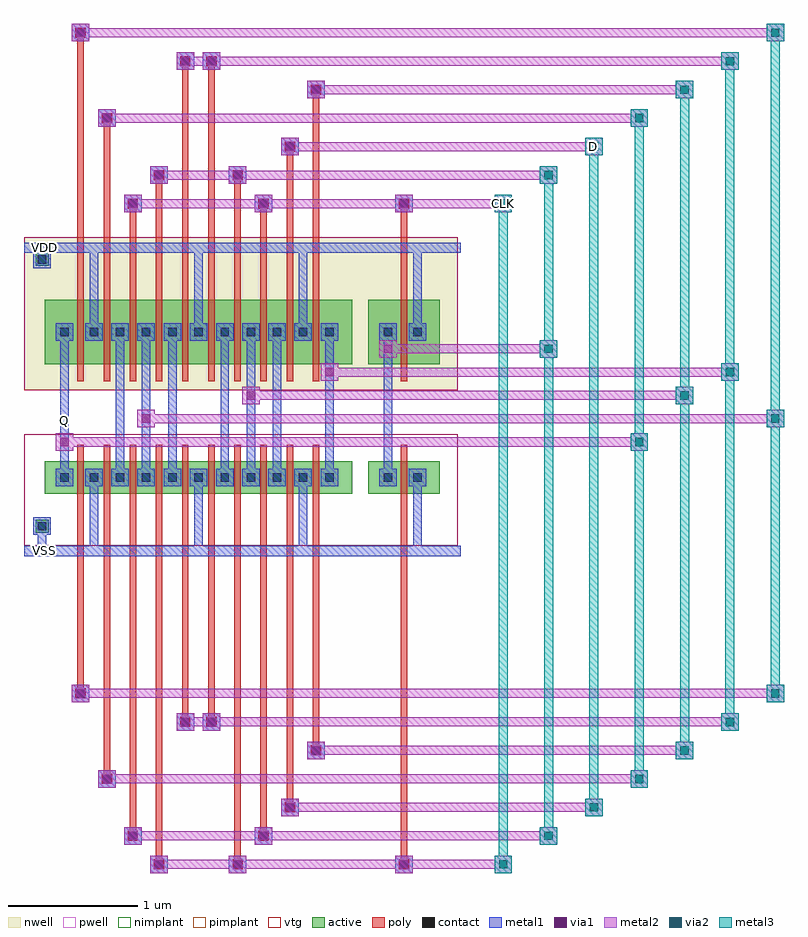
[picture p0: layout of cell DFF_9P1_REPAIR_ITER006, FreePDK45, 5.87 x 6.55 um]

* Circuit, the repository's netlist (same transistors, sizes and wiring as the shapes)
* cell DFF_9P1_REPAIR_ITER006
* pin CLK
* pin D
* pin Q
* pin VDD
* pin VSS
.SUBCKT DFF_9P1_REPAIR_ITER006 1 3 4 12 13
* net 1 CLK
* net 3 D
* net 4 Q
* net 12 VDD
* net 13 VSS
* device instance $1 r0 *1 0.4375,1.73 PMOS_VTG
M$1 12 7 4 12 PMOS_VTG L=0.05U W=0.5U AS=0.12625P AD=0.038125P PS=1.505U
+ PD=0.6525U
* device instance $2 r0 *1 0.64,1.73 PMOS_VTG
M$2 8 4 12 12 PMOS_VTG L=0.05U W=0.5U AS=0.038125P AD=0.0375P PS=0.6525U
+ PD=0.65U
* device instance $3 r0 *1 0.84,1.73 PMOS_VTG
M$3 7 1 8 12 PMOS_VTG L=0.05U W=0.5U AS=0.0375P AD=0.038125P PS=0.65U PD=0.6525U
* device instance $4 r0 *1 1.0425,1.73 PMOS_VTG
M$4 9 2 7 12 PMOS_VTG L=0.05U W=0.5U AS=0.038125P AD=0.038125P PS=0.6525U
+ PD=0.6525U
* device instance $5 r0 *1 1.245,1.73 PMOS_VTG
M$5 12 6 9 12 PMOS_VTG L=0.05U W=0.5U AS=0.038125P AD=0.038125P PS=0.6525U
+ PD=0.6525U
* device instance $6 r0 *1 1.4475,1.73 PMOS_VTG
M$6 10 6 12 12 PMOS_VTG L=0.05U W=0.5U AS=0.038125P AD=0.038125P PS=0.6525U
+ PD=0.6525U
* device instance $7 r0 *1 1.65,1.73 PMOS_VTG
M$7 5 2 10 12 PMOS_VTG L=0.05U W=0.5U AS=0.038125P AD=0.0375P PS=0.6525U
+ PD=0.65U
* device instance $8 r0 *1 1.85,1.73 PMOS_VTG
M$8 11 1 5 12 PMOS_VTG L=0.05U W=0.5U AS=0.0375P AD=0.038125P PS=0.65U
+ PD=0.6525U
* device instance $9 r0 *1 2.0525,1.73 PMOS_VTG
M$9 12 3 11 12 PMOS_VTG L=0.05U W=0.5U AS=0.038125P AD=0.038125P PS=0.6525U
+ PD=0.6525U
* device instance $10 r0 *1 2.255,1.73 PMOS_VTG
M$10 6 5 12 12 PMOS_VTG L=0.05U W=0.5U AS=0.038125P AD=0.12625P PS=0.6525U
+ PD=1.505U
* device instance $11 r0 *1 2.935,1.73 PMOS_VTG
M$11 12 1 2 12 PMOS_VTG L=0.05U W=0.5U AS=0.12625P AD=0.125P PS=1.505U PD=1.5U
* device instance $12 r0 *1 2.935,0.605 NMOS_VTG
M$12 13 1 2 13 NMOS_VTG L=0.05U W=0.25U AS=0.063125P AD=0.0625P PS=1.005U PD=1U
* device instance $13 r0 *1 0.4375,0.605 NMOS_VTG
M$13 13 7 4 13 NMOS_VTG L=0.05U W=0.25U AS=0.063125P AD=0.0190625P PS=1.005U
+ PD=0.4025U
* device instance $14 r0 *1 0.64,0.605 NMOS_VTG
M$14 8 4 13 13 NMOS_VTG L=0.05U W=0.25U AS=0.0190625P AD=0.01875P PS=0.4025U
+ PD=0.4U
* device instance $15 r0 *1 0.84,0.605 NMOS_VTG
M$15 7 2 8 13 NMOS_VTG L=0.05U W=0.25U AS=0.01875P AD=0.0190625P PS=0.4U
+ PD=0.4025U
* device instance $16 r0 *1 1.0425,0.605 NMOS_VTG
M$16 9 1 7 13 NMOS_VTG L=0.05U W=0.25U AS=0.0190625P AD=0.0190625P PS=0.4025U
+ PD=0.4025U
* device instance $17 r0 *1 1.245,0.605 NMOS_VTG
M$17 13 6 9 13 NMOS_VTG L=0.05U W=0.25U AS=0.0190625P AD=0.0190625P PS=0.4025U
+ PD=0.4025U
* device instance $18 r0 *1 1.4475,0.605 NMOS_VTG
M$18 10 6 13 13 NMOS_VTG L=0.05U W=0.25U AS=0.0190625P AD=0.0190625P PS=0.4025U
+ PD=0.4025U
* device instance $19 r0 *1 1.65,0.605 NMOS_VTG
M$19 5 1 10 13 NMOS_VTG L=0.05U W=0.25U AS=0.0190625P AD=0.01875P PS=0.4025U
+ PD=0.4U
* device instance $20 r0 *1 1.85,0.605 NMOS_VTG
M$20 11 2 5 13 NMOS_VTG L=0.05U W=0.25U AS=0.01875P AD=0.0190625P PS=0.4U
+ PD=0.4025U
* device instance $21 r0 *1 2.0525,0.605 NMOS_VTG
M$21 13 3 11 13 NMOS_VTG L=0.05U W=0.25U AS=0.0190625P AD=0.0190625P PS=0.4025U
+ PD=0.4025U
* device instance $22 r0 *1 2.255,0.605 NMOS_VTG
M$22 6 5 13 13 NMOS_VTG L=0.05U W=0.25U AS=0.0190625P AD=0.063125P PS=0.4025U
+ PD=1.005U
.ENDS DFF_9P1_REPAIR_ITER006

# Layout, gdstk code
import gdstk
lib = gdstk.Library(unit=1e-6, precision=2.5e-09)
def R(c, l, rs):  # rectangles x0, y0, x1, y1
    for r in rs: c.add(gdstk.rectangle(r[:2], r[2:], *l))
def A(c, l, x, y, w, h, nx, ny, dx, dy):  # array of equal rectangles
    R(c, l, [(x+i*dx, y+j*dy, x+i*dx+w, y+j*dy+h) for i in range(nx) for j in range(ny)])
active = (1, 0)
pwell = (2, 0)
nwell = (3, 0)
nimplant = (4, 0)
pimplant = (5, 0)
vtg = (6, 0)
poly = (9, 0)
contact = (10, 0)
metal1 = (11, 0)
via1 = (12, 0)
metal2 = (13, 0)
via2 = (14, 0)
metal3 = (15, 0)

dff_9p1_repair_iter006 = lib.new_cell('DFF_9P1_REPAIR_ITER006')
R(dff_9p1_repair_iter006, active, [(0.09,0.18,0.19,0.28), (0.16,0.48,2.5325,0.73), (2.6575,0.48,3.21,0.73), (0.16,1.48,2.5325,1.98), (2.6575,1.48,3.21,1.98), (0.09,2.24,0.19,2.34)])
R(dff_9p1_repair_iter006, pwell, [(0,0.08,3.35,0.94), (0.02,0.24,3.35,0.94)])
R(dff_9p1_repair_iter006, nwell, [(0,1.28,3.35,2.46), (0.02,1.28,3.35,2.2)])
R(dff_9p1_repair_iter006, nimplant, [(0.16,0.48,2.5325,0.73), (2.6575,0.48,3.21,0.73), (0.09,2.24,0.19,2.34)])
R(dff_9p1_repair_iter006, pimplant, [(0.09,0.18,0.19,0.28), (0.16,1.48,2.5325,1.98), (2.6575,1.48,3.21,1.98)])
R(dff_9p1_repair_iter006, vtg, [(0,0.08,3.35,0.94), (0.02,0.24,3.35,0.94), (0,1.28,3.35,2.46), (0.02,1.28,3.35,2.2)])
A(dff_9p1_repair_iter006, poly, 0.815, 0.35, 0.05, 0.51, 5, 1, 0.2025, 0)
A(dff_9p1_repair_iter006, poly, 1.825, 0.35, 0.05, 0.51, 3, 1, 0.2025, 0)
A(dff_9p1_repair_iter006, poly, 0.815, 1.35, 0.05, 0.76, 5, 1, 0.2025, 0)
A(dff_9p1_repair_iter006, poly, 1.825, 1.35, 0.05, 0.76, 3, 1, 0.2025, 0)
R(dff_9p1_repair_iter006, poly, [(1.0025,-2.42,1.0825,-2.34), (1.0175,-2.42,1.0675,0.35), (1.61,-2.42,1.69,-2.34), (1.625,-2.42,1.675,0.35), (2.895,-2.42,2.975,-2.34), (2.91,-2.42,2.96,0.35), (0.8,-2.2,0.88,-2.12), (0.815,-2.2,0.865,0.35), (1.81,-2.2,1.89,-2.12), (1.825,-2.2,1.875,0.35), (2.0125,-1.98,2.0925,-1.9), (2.0275,-1.98,2.0775,0.35), (0.6,-1.76,0.68,-1.68), (0.615,-1.76,0.665,0.35), (2.215,-1.54,2.295,-1.46), (2.23,-1.54,2.28,0.35), (1.205,-1.32,1.285,-1.24), (1.22,-1.32,1.27,0.35), (1.4075,-1.32,1.4875,-1.24), (1.4225,-1.32,1.4725,0.35), (0.3975,-1.1,0.4775,-1.02), (0.4125,-1.1,0.4625,0.35), (0.4125,0.35,0.4625,0.86), (0.615,0.35,0.665,0.86), (2.91,0.35,2.96,0.86), (0.4125,1.35,0.4625,2.11), (0.615,1.35,0.665,2.11), (2.91,1.35,2.96,2.11), (0.4125,2.11,0.4625,4.08), (0.615,2.11,0.665,3.42), (0.815,2.11,0.865,2.76), (1.0175,2.11,1.0675,2.98), (1.22,2.11,1.27,3.86), (1.4225,2.11,1.4725,3.86), (1.625,2.11,1.675,2.98), (1.825,2.11,1.875,2.76), (2.0275,2.11,2.0775,3.2), (2.23,2.11,2.28,3.64), (2.91,2.11,2.96,2.76), (0.8,2.68,0.88,2.76), (1.81,2.68,1.89,2.76), (2.895,2.68,2.975,2.76), (1.0025,2.9,1.0825,2.98), (1.61,2.9,1.69,2.98), (2.0125,3.12,2.0925,3.2), (0.6,3.34,0.68,3.42), (2.215,3.56,2.295,3.64), (1.205,3.78,1.285,3.86), (1.4075,3.78,1.4875,3.86), (0.3975,4,0.4775,4.08)])
A(dff_9p1_repair_iter006, contact, 0.91, 0.5725, 0.065, 0.065, 5, 2, 0.2025, 1.125)
A(dff_9p1_repair_iter006, contact, 1.92, 0.5725, 0.065, 0.065, 3, 2, 0.2025, 1.125)
R(dff_9p1_repair_iter006, contact, [(1.01,-2.4125,1.075,-2.3475), (1.6175,-2.4125,1.6825,-2.3475), (2.9025,-2.4125,2.9675,-2.3475), (0.8075,-2.1925,0.8725,-2.1275), (1.8175,-2.1925,1.8825,-2.1275), (2.02,-1.9725,2.085,-1.9075), (0.6075,-1.7525,0.6725,-1.6875), (2.2225,-1.5325,2.2875,-1.4675), (1.2125,-1.3125,1.2775,-1.2475), (1.415,-1.3125,1.48,-1.2475), (0.405,-1.0925,0.47,-1.0275), (0.1075,0.1975,0.1725,0.2625), (0.28,0.5725,0.345,0.6375), (0.5075,0.5725,0.5725,0.6375), (0.71,0.5725,0.775,0.6375), (2.7775,0.5725,2.8425,0.6375), (3.005,0.5725,3.07,0.6375), (0.28,1.6975,0.345,1.7625), (0.5075,1.6975,0.5725,1.7625), (0.71,1.6975,0.775,1.7625), (2.7775,1.6975,2.8425,1.7625), (3.005,1.6975,3.07,1.7625), (0.1075,2.2575,0.1725,2.3225), (0.8075,2.6875,0.8725,2.7525), (1.8175,2.6875,1.8825,2.7525), (2.9025,2.6875,2.9675,2.7525), (1.01,2.9075,1.075,2.9725), (1.6175,2.9075,1.6825,2.9725), (2.02,3.1275,2.085,3.1925), (0.6075,3.3475,0.6725,3.4125), (2.2225,3.5675,2.2875,3.6325), (1.2125,3.7875,1.2775,3.8525), (1.415,3.7875,1.48,3.8525), (0.405,4.0075,0.47,4.0725)])
A(dff_9p1_repair_iter006, metal1, 0.5075, 0.04, 0.065, 0.565, 3, 1, 0.8075, 0)
A(dff_9p1_repair_iter006, metal1, 0.875, 0.5375, 0.135, 0.135, 5, 2, 0.2025, 1.125)
A(dff_9p1_repair_iter006, metal1, 1.885, 0.5375, 0.135, 0.135, 3, 2, 0.2025, 1.125)
A(dff_9p1_repair_iter006, metal1, 0.5075, 1.73, 0.065, 0.65, 3, 1, 0.8075, 0)
R(dff_9p1_repair_iter006, metal1, [(0.975,-2.4475,1.11,-2.3125), (1.5825,-2.4475,1.7175,-2.3125), (2.8675,-2.4475,3.0025,-2.3125), (0.7725,-2.2275,0.9075,-2.0925), (1.7825,-2.2275,1.9175,-2.0925), (1.985,-2.0075,2.12,-1.8725), (0.5725,-1.7875,0.7075,-1.6525), (2.1875,-1.5675,2.3225,-1.4325), (1.1775,-1.3475,1.3125,-1.2125), (1.38,-1.3475,1.515,-1.2125), (0.37,-1.1275,0.505,-0.9925), (0,0,3.37,0.08), (0.1075,0.04,0.1725,0.23), (3.005,0.04,3.07,0.605), (0.0725,0.1625,0.2075,0.2975), (0.245,0.5375,0.38,0.6725), (0.4725,0.5375,0.6075,0.6725), (0.675,0.5375,0.81,0.6725), (2.7425,0.5375,2.8775,0.6725), (2.97,0.5375,3.105,0.6725), (0.28,0.605,0.345,1.73), (0.71,0.605,0.775,1.73), (0.91,0.605,0.975,1.73), (1.1125,0.605,1.1775,1.73), (1.5175,0.605,1.5825,1.73), (1.72,0.605,1.785,1.73), (1.92,0.605,1.985,1.73), (2.325,0.605,2.39,1.73), (2.7775,0.605,2.8425,1.73), (0.245,1.6625,0.38,1.7975), (0.4725,1.6625,0.6075,1.7975), (0.675,1.6625,0.81,1.7975), (2.7425,1.6625,2.8775,1.7975), (2.97,1.6625,3.105,1.7975), (3.005,1.73,3.07,2.38), (0.0725,2.2225,0.2075,2.3575), (0.1075,2.29,0.1725,2.38), (0,2.34,3.37,2.42), (0.7725,2.6525,0.9075,2.7875), (1.7825,2.6525,1.9175,2.7875), (2.8675,2.6525,3.0025,2.7875), (0.975,2.8725,1.11,3.0075), (1.5825,2.8725,1.7175,3.0075), (1.985,3.0925,2.12,3.2275), (0.5725,3.3125,0.7075,3.4475), (2.1875,3.5325,2.3225,3.6675), (1.1775,3.7525,1.3125,3.8875), (1.38,3.7525,1.515,3.8875), (0.37,3.9725,0.505,4.1075)])
R(dff_9p1_repair_iter006, via1, [(1.01,-2.4125,1.075,-2.3475), (1.6175,-2.4125,1.6825,-2.3475), (2.9025,-2.4125,2.9675,-2.3475), (0.8075,-2.1925,0.8725,-2.1275), (1.8175,-2.1925,1.8825,-2.1275), (2.02,-1.9725,2.085,-1.9075), (0.6075,-1.7525,0.6725,-1.6875), (2.2225,-1.5325,2.2875,-1.4675), (1.2125,-1.3125,1.2775,-1.2475), (1.415,-1.3125,1.48,-1.2475), (0.405,-1.0925,0.47,-1.0275), (0.28,0.8475,0.345,0.9125), (0.91,1.0275,0.975,1.0925), (1.72,1.2075,1.785,1.2725), (2.325,1.3875,2.39,1.4525), (2.7775,1.5675,2.8425,1.6325), (0.8075,2.6875,0.8725,2.7525), (1.8175,2.6875,1.8825,2.7525), (2.9025,2.6875,2.9675,2.7525), (1.01,2.9075,1.075,2.9725), (1.6175,2.9075,1.6825,2.9725), (2.02,3.1275,2.085,3.1925), (0.6075,3.3475,0.6725,3.4125), (2.2225,3.5675,2.2875,3.6325), (1.2125,3.7875,1.2775,3.8525), (1.415,3.7875,1.48,3.8525), (0.405,4.0075,0.47,4.0725)])
R(dff_9p1_repair_iter006, metal2, [(0.975,-2.4475,1.11,-2.3125), (1.5825,-2.4475,1.7175,-2.3125), (2.8675,-2.4475,3.0025,-2.3125), (3.6325,-2.4475,3.7675,-2.3125), (3.6325,-2.4475,3.7675,-2.3125), (3.6325,-2.4475,3.7675,-2.3125), (1.0075,-2.415,3.735,-2.345), (1.615,-2.415,3.735,-2.345), (2.9,-2.415,3.735,-2.345), (0.7725,-2.2275,0.9075,-2.0925), (1.7825,-2.2275,1.9175,-2.0925), (3.9825,-2.2275,4.1175,-2.0925), (3.9825,-2.2275,4.1175,-2.0925), (0.805,-2.195,4.085,-2.125), (1.815,-2.195,4.085,-2.125), (1.985,-2.0075,2.12,-1.8725), (4.3325,-2.0075,4.4675,-1.8725), (2.0175,-1.975,4.435,-1.905), (0.5725,-1.7875,0.7075,-1.6525), (4.6825,-1.7875,4.8175,-1.6525), (0.605,-1.755,4.785,-1.685), (2.1875,-1.5675,2.3225,-1.4325), (5.0325,-1.5675,5.1675,-1.4325), (2.22,-1.535,5.135,-1.465), (1.1775,-1.3475,1.3125,-1.2125), (1.38,-1.3475,1.515,-1.2125), (5.3825,-1.3475,5.5175,-1.2125), (5.3825,-1.3475,5.5175,-1.2125), (1.21,-1.315,5.485,-1.245), (1.4125,-1.315,5.485,-1.245), (0.37,-1.1275,0.505,-0.9925), (5.7325,-1.1275,5.8675,-0.9925), (0.4025,-1.095,5.835,-1.025), (0.245,0.8125,0.38,0.9475), (4.6825,0.8125,4.8175,0.9475), (0.2775,0.845,4.785,0.915), (0.875,0.9925,1.01,1.1275), (5.7325,0.9925,5.8675,1.1275), (0.9075,1.025,5.835,1.095), (1.685,1.1725,1.82,1.3075), (5.0325,1.1725,5.1675,1.3075), (1.7175,1.205,5.135,1.275), (2.29,1.3525,2.425,1.4875), (5.3825,1.3525,5.5175,1.4875), (2.3225,1.385,5.485,1.455), (2.7425,1.5325,2.8775,1.6675), (3.9825,1.5325,4.1175,1.6675), (2.775,1.565,4.085,1.635), (0.7725,2.6525,0.9075,2.7875), (1.7825,2.6525,1.9175,2.7875), (2.8675,2.6525,3.0025,2.7875), (3.6325,2.6525,3.7675,2.7875), (3.6325,2.6525,3.7675,2.7875), (3.6325,2.6525,3.7675,2.7875), (0.805,2.685,3.735,2.755), (1.815,2.685,3.735,2.755), (2.9,2.685,3.735,2.755), (0.975,2.8725,1.11,3.0075), (1.5825,2.8725,1.7175,3.0075), (3.9825,2.8725,4.1175,3.0075), (3.9825,2.8725,4.1175,3.0075), (1.0075,2.905,4.085,2.975), (1.615,2.905,4.085,2.975), (1.985,3.0925,2.12,3.2275), (4.3325,3.0925,4.4675,3.2275), (2.0175,3.125,4.435,3.195), (0.5725,3.3125,0.7075,3.4475), (4.6825,3.3125,4.8175,3.4475), (0.605,3.345,4.785,3.415), (2.1875,3.5325,2.3225,3.6675), (5.0325,3.5325,5.1675,3.6675), (2.22,3.565,5.135,3.635), (1.1775,3.7525,1.3125,3.8875), (1.38,3.7525,1.515,3.8875), (5.3825,3.7525,5.5175,3.8875), (5.3825,3.7525,5.5175,3.8875), (1.21,3.785,5.485,3.855), (1.4125,3.785,5.485,3.855), (0.37,3.9725,0.505,4.1075), (5.7325,3.9725,5.8675,4.1075), (0.4025,4.005,5.835,4.075)])
R(dff_9p1_repair_iter006, via2, [(3.6675,-2.4125,3.7325,-2.3475), (3.6675,-2.4125,3.7325,-2.3475), (3.6675,-2.4125,3.7325,-2.3475), (4.0175,-2.1925,4.0825,-2.1275), (4.0175,-2.1925,4.0825,-2.1275), (4.3675,-1.9725,4.4325,-1.9075), (4.7175,-1.7525,4.7825,-1.6875), (5.0675,-1.5325,5.1325,-1.4675), (5.4175,-1.3125,5.4825,-1.2475), (5.4175,-1.3125,5.4825,-1.2475), (5.7675,-1.0925,5.8325,-1.0275), (4.7175,0.8475,4.7825,0.9125), (5.7675,1.0275,5.8325,1.0925), (5.0675,1.2075,5.1325,1.2725), (5.4175,1.3875,5.4825,1.4525), (4.0175,1.5675,4.0825,1.6325), (3.6675,2.6875,3.7325,2.7525), (3.6675,2.6875,3.7325,2.7525), (3.6675,2.6875,3.7325,2.7525), (4.0175,2.9075,4.0825,2.9725), (4.0175,2.9075,4.0825,2.9725), (4.3675,3.1275,4.4325,3.1925), (4.7175,3.3475,4.7825,3.4125), (5.0675,3.5675,5.1325,3.6325), (5.4175,3.7875,5.4825,3.8525), (5.4175,3.7875,5.4825,3.8525), (5.7675,4.0075,5.8325,4.0725)])
R(dff_9p1_repair_iter006, metal3, [(3.6325,-2.4475,3.7675,-2.3125), (3.6325,-2.4475,3.7675,-2.3125), (3.6325,-2.4475,3.7675,-2.3125), (3.665,-2.415,3.735,2.755), (3.9825,-2.2275,4.1175,-2.0925), (3.9825,-2.2275,4.1175,-2.0925), (4.015,-2.195,4.085,2.975), (4.3325,-2.0075,4.4675,-1.8725), (4.365,-1.975,4.435,3.195), (4.6825,-1.7875,4.8175,-1.6525), (4.715,-1.755,4.785,3.415), (5.0325,-1.5675,5.1675,-1.4325), (5.065,-1.535,5.135,3.635), (5.3825,-1.3475,5.5175,-1.2125), (5.3825,-1.3475,5.5175,-1.2125), (5.415,-1.315,5.485,3.855), (5.7325,-1.1275,5.8675,-0.9925), (5.765,-1.095,5.835,4.075), (4.6825,0.8125,4.8175,0.9475), (5.7325,0.9925,5.8675,1.1275), (5.0325,1.1725,5.1675,1.3075), (5.3825,1.3525,5.5175,1.4875), (3.9825,1.5325,4.1175,1.6675), (3.6325,2.6525,3.7675,2.7875), (3.6325,2.6525,3.7675,2.7875), (3.6325,2.6525,3.7675,2.7875), (3.9825,2.8725,4.1175,3.0075), (3.9825,2.8725,4.1175,3.0075), (4.3325,3.0925,4.4675,3.2275), (4.6825,3.3125,4.8175,3.4475), (5.0325,3.5325,5.1675,3.6675), (5.3825,3.7525,5.5175,3.8875), (5.3825,3.7525,5.5175,3.8875), (5.7325,3.9725,5.8675,4.1075)])
dff_9p1_repair_iter006.add(gdstk.Label('VDD', (0.16,2.38), layer=11, texttype=0))
dff_9p1_repair_iter006.add(gdstk.Label('VSS', (0.16,0.04), layer=11, texttype=0))
dff_9p1_repair_iter006.add(gdstk.Label('Q', (0.3125,1.05), layer=11, texttype=0))
dff_9p1_repair_iter006.add(gdstk.Label('CLK', (3.7,2.72), layer=15, texttype=0))
dff_9p1_repair_iter006.add(gdstk.Label('D', (4.4,3.16), layer=15, texttype=0))

lib.write_gds('DFF_9P1_REPAIR_ITER006.gds')
